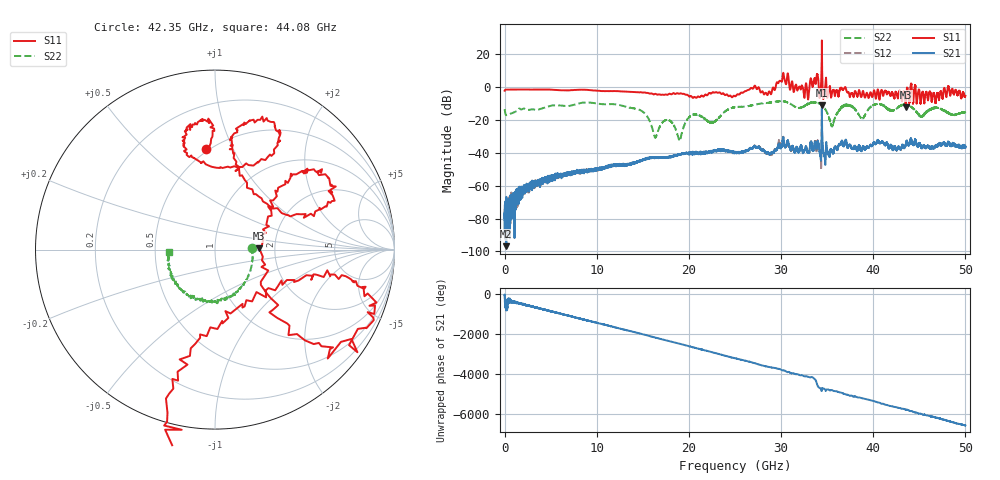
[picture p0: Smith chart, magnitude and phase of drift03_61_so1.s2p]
!Created with skrf (http://scikit-rf.org).
# Hz S RI R 50.0
!freq ReS11 ImS11 ReS21 ImS21 ReS12 ImS12 ReS22 ImS22
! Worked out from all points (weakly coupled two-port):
!   10000 points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, 5.3 MHz to 50 GHz, reference 50 ohm
!   highest |S21| = -10.74 dB at 34.43 GHz (marker M1); lowest = -96.8 dB at 185.3 MHz (marker M2)
!   lowest |S11| = -12.1 dB at 43.52 GHz (marker M3), VSWR 1.66, Z = 82.8 + j1.26 ohm
!   |S11| at or under -10 dB: 43.4915 GHz to 43.54477 GHz (53.26 MHz wide, 0.122 % of centre); 43.5468 GHz to 43.55208 GHz (5.277 MHz wide, 0.0121 % of centre); 44.30978 GHz to 44.31598 GHz (6.202 MHz wide, 0.014 % of centre)
!   |S22| runs from -32.4 to -8.4 dB; largest |S21 - S12| = 0.1
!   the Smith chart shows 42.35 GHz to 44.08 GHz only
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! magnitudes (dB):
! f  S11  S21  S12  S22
! 5.3 MHz  -2.1  -79.5  -74.0  -13.3
! 185.3 MHz  -1.4  -96.8  -70.6  -17.0
! 3.07 GHz  -1.4  -60.7  -58.6  -13.4
! 8.34 GHz  -1.5  -51.7  -51.1  -9.5
! 14.57 GHz  -3.1  -45.1  -45.1  -13.6
! 16.67 GHz  -4.4  -42.9  -42.9  -26.3
! 17.79 GHz  -4.3  -42.4  -42.5  -19.9
! 19 GHz  -3.9  -40.9  -41.1  -32.2
! 20.3 GHz  -5.6  -40.2  -39.7  -17.1
! 22.53 GHz  -3.3  -39.4  -39.1  -21.6
! 25.01 GHz  -5.5  -39.6  -39.6  -12.1
! 30.14 GHz  4.4  -33.5  -33.8  -8.5
! 33.34 GHz  2.6  -34.6  -35.5  -9.3
! 34.43 GHz  28.5  -10.7  -12.8  -10.8
! 35.52 GHz  -3.6  -38.6  -38.8  -23.4
! 36.98 GHz  0.1  -32.8  -32.9  -10.8
! 38.78 GHz  -4.8  -38.1  -37.9  -19.2
! 40.17 GHz  -3.1  -33.9  -34.2  -10.5
! 41.67 GHz  -2.9  -36.9  -36.8  -13.7
! 43.52 GHz  -12.1  -34.9  -35.3  -10.8
! 45.2 GHz  -7.1  -36.8  -36.4  -18.1
! 50 GHz  -5.2  -36.5  -36.3  -15.6
